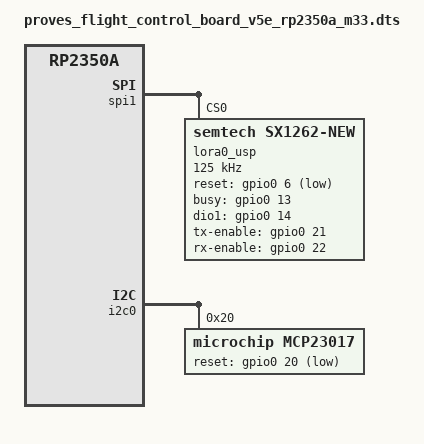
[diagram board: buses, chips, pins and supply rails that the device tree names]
/*
 * Copyright (c) 2024 Andrew Featherstone
 *
 * SPDX-License-Identifier: Apache-2.0
 *
 * PROVES Flight Control Board v5e: SX1262 (E22-400M30S) on SPI1 via the USP driver.
 *
 * Everything else is inherited from proves_flight_control_board_v5.dtsi,
 * including storage_partition, which smtc_modem_hal_storage.c requires.
 */

/dts-v1/;

#include <raspberrypi/rpi_pico/rp2350a.dtsi>
#include <raspberrypi/rpi_pico/m33.dtsi>

#include "../proves_flight_control_board_v5/proves_flight_control_board_v5.dtsi"

#include <zephyr/dt-bindings/usp/sx126x.h>

/* Remove the v5 SX1276 node; the USP SX1262 node below takes its SPI1 CS0 slot. */
/delete-node/ &lora0;

/* USP (smtc_sw_platform_helper.c) gets its transceiver from DT_CHOSEN(zephyr_lorawan_transceiver). */
/ {
	chosen {
		zephyr,lorawan-transceiver = &lora0_usp;
	};
};

&spi1 {
	/*
	 * USP SX1262 node for the E22-400M30S module.
	 *
	 * compatible "semtech,sx1262-new" is the USP binding. It keeps the
	 * in-tree Zephyr lora driver (semtech,sx1262) from binding this node.
	 * tx/rx-enable-gpios drive the module RF switch. They need the
	 * RF-switch support in the Open-Source-Space-Foundation usp_zephyr fork.
	 * The TCXO is on DIO3 at 1.8 V (dio3-as-tcxo-control, tcxo-voltage)
	 * with a 10 ms wakeup time. reg-mode is LDO: the E22-400M30S has no
	 * DC-DC inductor.
	 */
	lora0_usp: sx1262_usp@0 {
		compatible = "semtech,sx1262-new";
		reg = <0>;
		spi-max-frequency = <125000>;
		reset-gpios  = <&gpio0 6  GPIO_ACTIVE_LOW>;
		busy-gpios   = <&gpio0 13 GPIO_ACTIVE_HIGH>;
		dio1-gpios   = <&gpio0 14 (GPIO_ACTIVE_HIGH | GPIO_PULL_DOWN)>;
		dio3-as-tcxo-control;
		tcxo-voltage     = <SX126X_TCXO_SUPPLY_1_8V>;
		tcxo-wakeup-time = <10>;
		reg-mode         = <SX126X_REG_MODE_LDO>;
		rx-boosted;
		tx-enable-gpios  = <&gpio0 21 GPIO_ACTIVE_HIGH>;
		rx-enable-gpios  = <&gpio0 22 GPIO_ACTIVE_HIGH>;
	};
};

/* v5e moves the MCP23017 from i2c1 to i2c0. */
&i2c1 {
	/delete-node/ mcp23017@20;
};

&i2c0 {
	mcp23017: mcp23017@20 {
		compatible = "microchip,mcp23017";
		reg = <0x20>;
		gpio-controller;
		#gpio-cells = <2>;

		/* gpio-line-names index : signal
		 *  0: ENABLE_HEATER (GPA0)        8: FACE5_ENABLE (GPB5)
		 *  1: PAYLOAD_PWR_ENABLE (GPA1)   9: FACE0_ENABLE (GPB1)
		 *  2: FIRE_DEPLOY2_B (GPA2)      10: FACE1_ENABLE (GPB2)
		 *  3: PAYLOAD_BATT_ENABLE (GPA3) 11: FACE2_ENABLE (GPB3)
		 *  4: SBAND_RX_EN (GPA4)         12: FACE3_ENABLE (GPB4)
		 *  5: RF2_IO1 (GPA5)             13: FACE4_ENABLE (GPB0)
		 *  6: RF2_IO0 (GPA6)             14: 5V_RESET (GPB6)
		 *  7: SBAND_TX_EN (GPA7)         15: CHARGE (GPB7)
		 */
		gpio-line-names = "ENABLE_HEATER", "PAYLOAD_PWR_ENABLE", "FIRE_DEPLOY2_B", "PAYLOAD_BATT_ENABLE",
						  "SBAND_RX_EN", "RF2_IO1", "RF2_IO0", "SBAND_TX_EN",
						  "FACE5_ENABLE", "FACE0_ENABLE", "FACE1_ENABLE", "FACE2_ENABLE",
						  "FACE3_ENABLE", "FACE4_ENABLE", "5V_RESET", "CHARGE";

		reset-gpios = <&gpio0 20 GPIO_ACTIVE_LOW>;

		ngpios = <16>;
	};
};

/*
 * v5e SBAND enables move from raw GPIOs onto the MCP. RF2_IO2/RF2_IO3 inputs
 * inherited from v5.dtsi conflict with the new SBAND lines on pins 4 and 7,
 * so drop them.
 */
/ {
	gpio_outputs {
		sband_rx_en: sband-rx-en {
			gpios = <&mcp23017 4 GPIO_ACTIVE_HIGH>;
			label = "SBAND_RX_EN";
		};

		sband_tx_en: sband-tx-en {
			gpios = <&mcp23017 7 GPIO_ACTIVE_HIGH>;
			label = "SBAND_TX_EN";
		};
	};

	gpio_inputs {
		/delete-node/ rf2-io2;
		/delete-node/ rf2-io3;
	};
};
